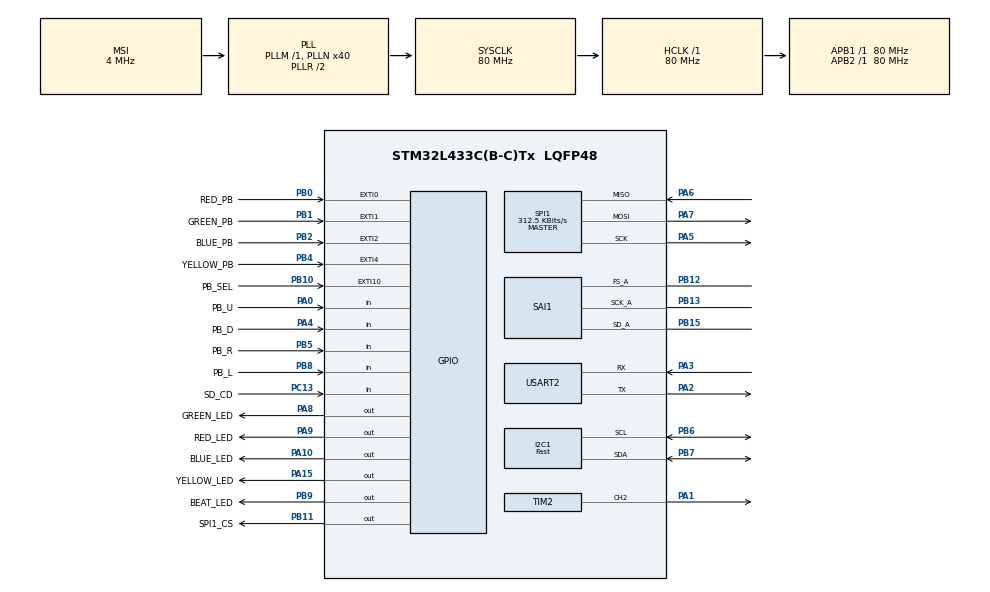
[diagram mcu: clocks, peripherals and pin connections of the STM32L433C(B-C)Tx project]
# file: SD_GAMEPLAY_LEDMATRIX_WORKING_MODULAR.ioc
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Dma.Request0=USART2_RX
Dma.Request1=TIM2_CH2/CH4
Dma.Request2=SAI1_A
Dma.SAI1_A.2.Direction=DMA_MEMORY_TO_PERIPH
Dma.SAI1_A.2.Instance=DMA2_Channel1
Dma.SAI1_A.2.MemDataAlignment=DMA_MDATAALIGN_HALFWORD
Dma.SAI1_A.2.MemInc=DMA_MINC_ENABLE
Dma.SAI1_A.2.Mode=DMA_CIRCULAR
Dma.SAI1_A.2.PeriphDataAlignment=DMA_PDATAALIGN_HALFWORD
Dma.SAI1_A.2.PeriphInc=DMA_PINC_DISABLE
Dma.SAI1_A.2.Priority=DMA_PRIORITY_HIGH
Dma.TIM2_CH2/CH4.1.Direction=DMA_MEMORY_TO_PERIPH
Dma.TIM2_CH2/CH4.1.Instance=DMA1_Channel7
Dma.TIM2_CH2/CH4.1.MemDataAlignment=DMA_MDATAALIGN_HALFWORD
Dma.TIM2_CH2/CH4.1.MemInc=DMA_MINC_ENABLE
Dma.TIM2_CH2/CH4.1.Mode=DMA_CIRCULAR
Dma.TIM2_CH2/CH4.1.PeriphDataAlignment=DMA_PDATAALIGN_WORD
Dma.TIM2_CH2/CH4.1.PeriphInc=DMA_PINC_DISABLE
Dma.TIM2_CH2/CH4.1.Priority=DMA_PRIORITY_LOW
Dma.USART2_RX.0.Direction=DMA_PERIPH_TO_MEMORY
Dma.USART2_RX.0.Instance=DMA1_Channel6
Dma.USART2_RX.0.MemDataAlignment=DMA_MDATAALIGN_BYTE
Dma.USART2_RX.0.MemInc=DMA_MINC_ENABLE
Dma.USART2_RX.0.Mode=DMA_CIRCULAR
Dma.USART2_RX.0.PeriphDataAlignment=DMA_PDATAALIGN_BYTE
Dma.USART2_RX.0.PeriphInc=DMA_PINC_DISABLE
Dma.USART2_RX.0.Priority=DMA_PRIORITY_LOW
I2C1.I2C_Speed_Mode=I2C_Fast
I2C1.Timing=0x00F12981
Mcu.Family=STM32L4
Mcu.Name=STM32L433C(B-C)Tx
Mcu.Package=LQFP48
NVIC.DMA1_Channel6_IRQn=true\:5\:0\:true\:false\:true\:false\:true\:true
NVIC.DMA1_Channel7_IRQn=true\:0\:0\:false\:false\:true\:false\:true\:true
NVIC.DMA2_Channel1_IRQn=true\:0\:0\:false\:false\:true\:false\:true\:true
NVIC.EXTI0_IRQn=true\:0\:0\:false\:false\:true\:true\:true\:true
NVIC.EXTI15_10_IRQn=true\:0\:0\:false\:false\:true\:true\:true\:true
NVIC.EXTI1_IRQn=true\:0\:0\:false\:false\:true\:true\:true\:true
NVIC.EXTI2_IRQn=true\:0\:0\:false\:false\:true\:true\:true\:true
NVIC.EXTI4_IRQn=true\:0\:0\:false\:false\:true\:true\:true\:true
NVIC.PriorityGroup=NVIC_PRIORITYGROUP_4
NVIC.TIM6_DAC_IRQn=true\:5\:0\:true\:false\:true\:true\:true\:true
NVIC.TIM7_IRQn=true\:0\:0\:false\:false\:true\:true\:true\:true
NVIC.USART2_IRQn=true\:0\:0\:false\:false\:true\:true\:true\:true
PA0.GPIO_Label=PB_U
PA0.GPIO_PuPd=GPIO_PULLUP
PA0.Signal=GPIO_Input
PA1.Signal=S_TIM2_CH2
PA10.GPIO_Label=BLUE_LED
PA10.PinState=GPIO_PIN_RESET
PA10.Signal=GPIO_Output
PA15\ (JTDI).GPIO_Label=YELLOW_LED
PA15\ (JTDI).PinState=GPIO_PIN_RESET
PA15\ (JTDI).Signal=GPIO_Output
PA2.Mode=Asynchronous
PA2.Signal=USART2_TX
PA3.Mode=Asynchronous
PA3.Signal=USART2_RX
PA4.GPIO_Label=PB_D
PA4.GPIO_PuPd=GPIO_PULLUP
PA4.Signal=GPIO_Input
PA5.Mode=Full_Duplex_Master
PA5.Signal=SPI1_SCK
PA6.Mode=Full_Duplex_Master
PA6.Signal=SPI1_MISO
PA7.Mode=Full_Duplex_Master
PA7.Signal=SPI1_MOSI
PA8.GPIO_Label=GREEN_LED
PA8.PinState=GPIO_PIN_RESET
PA8.Signal=GPIO_Output
PA9.GPIO_Label=RED_LED
PA9.PinState=GPIO_PIN_RESET
PA9.Signal=GPIO_Output
PB0.GPIO_Label=RED_PB
PB0.GPIO_ModeDefaultEXTI=GPIO_MODE_IT_RISING_FALLING
PB0.GPIO_PuPd=GPIO_PULLUP
PB0.Signal=GPXTI0
PB1.GPIO_Label=GREEN_PB
PB1.GPIO_ModeDefaultEXTI=GPIO_MODE_IT_RISING_FALLING
PB1.GPIO_PuPd=GPIO_PULLUP
PB1.Signal=GPXTI1
PB10.GPIO_Label=PB_SEL
PB10.GPIO_ModeDefaultEXTI=GPIO_MODE_IT_FALLING
PB10.GPIO_PuPd=GPIO_PULLUP
PB10.Signal=GPXTI10
PB11.GPIO_Label=SPI1_CS
PB11.GPIO_ModeDefaultOutputPP=GPIO_MODE_OUTPUT_PP
PB11.PinState=GPIO_PIN_SET
PB11.Signal=GPIO_Output
PB12.Mode=SAI_A_Master
PB12.Signal=SAI1_FS_A
PB13.Mode=SAI_A_Master
PB13.Signal=SAI1_SCK_A
PB14.Signal=SAI1_MCLK_A
PB15.Mode=SAI_A_Master
PB15.Signal=SAI1_SD_A
PB2.GPIO_Label=BLUE_PB
PB2.GPIO_ModeDefaultEXTI=GPIO_MODE_IT_RISING_FALLING
PB2.GPIO_PuPd=GPIO_PULLUP
PB2.Signal=GPXTI2
PB4\ (NJTRST).GPIO_Label=YELLOW_PB
PB4\ (NJTRST).GPIO_ModeDefaultEXTI=GPIO_MODE_IT_RISING_FALLING
PB4\ (NJTRST).GPIO_PuPd=GPIO_PULLUP
PB4\ (NJTRST).Signal=GPXTI4
PB5.GPIO_Label=PB_R
PB5.GPIO_PuPd=GPIO_PULLUP
PB5.Signal=GPIO_Input
PB6.Mode=I2C
PB6.Signal=I2C1_SCL
PB7.Mode=I2C
PB7.Signal=I2C1_SDA
PB8.GPIO_Label=PB_L
PB8.GPIO_PuPd=GPIO_PULLUP
PB8.Signal=GPIO_Input
PB9.GPIO_Label=BEAT_LED
PB9.PinState=GPIO_PIN_SET
PB9.Signal=GPIO_Output
PC13.GPIO_Label=SD_CD
PC13.GPIO_PuPd=GPIO_PULLUP
PC13.Signal=GPIO_Input
PH0-OSC_IN\ (PH0).Mode=HSE-External-Oscillator
PH0-OSC_IN\ (PH0).Signal=RCC_OSC_IN
PH1-OSC_OUT\ (PH1).Mode=HSE-External-Oscillator
PH1-OSC_OUT\ (PH1).Signal=RCC_OSC_OUT
ProjectManager.HeapSize=0x200
ProjectManager.StackSize=0x1000
ProjectManager.TargetToolchain=CMake
RCC.ADCFreq_Value=158000000
RCC.AHBFreq_Value=80000000
RCC.APB1Freq_Value=80000000
RCC.APB1TimFreq_Value=80000000
RCC.APB2Freq_Value=80000000
RCC.APB2TimFreq_Value=80000000
RCC.CortexFreq_Value=80000000
RCC.HCLKFreq_Value=80000000
RCC.HSE_VALUE=8000000
RCC.HSI48_VALUE=48000000
RCC.HSI_VALUE=16000000
RCC.LSE_VALUE=32768
RCC.MSI_VALUE=4000000
RCC.PLLN=40
RCC.PLLSAI1N=79
RCC.SYSCLKFreq_VALUE=80000000
RCC.SYSCLKSource=RCC_SYSCLKSOURCE_PLLCLK
RCC.USBFreq_Value=158000000
RCC.VCOOutputFreq_Value=160000000
SAI1.AudioFrequency-SAI_A_Master=SAI_AUDIO_FREQUENCY_44K
SAI1.ErrorAudioFreq-SAI_A_Master=-0.03 %
SAI1.InitProtocol-SAI_A_Master=Enable
SAI1.Instance-SAI_A_Master=SAI$Index_Block_A
SAI1.MClockEnable-SAI_A_Master=SAI_MASTERCLOCK_DISABLE
SAI1.RealAudioFreq-SAI_A_Master=44.084 KHz
SAI1.VirtualMode-SAI_A_Master=VM_MASTER
SAI1.VirtualProtocol-SAI_A_BASIC=VM_BASIC_PROTOCOL
SH.S_TIM2_CH2.0=TIM2_CH2,PWM Generation2 CH2
SPI1.BaudRatePrescaler=SPI_BAUDRATEPRESCALER_256
SPI1.CalculateBaudRate=312.5 KBits/s
SPI1.DataSize=SPI_DATASIZE_8BIT
SPI1.Direction=SPI_DIRECTION_2LINES
SPI1.Mode=SPI_MODE_MASTER
SPI1.NSSPMode=SPI_NSS_PULSE_DISABLE
SPI1.VirtualType=VM_MASTER
TIM2.Channel-PWM\ Generation2\ CH2=TIM_CHANNEL_2
TIM2.Period=89
TIM2.Prescaler=0
TIM6.Period=5000
TIM6.Prescaler=7999
TIM7.Prescaler=799
USART2.VirtualMode-Asynchronous=VM_ASYNC
VP_FATFS_VS_Generic.Mode=User_defined
VP_SAI1_VP_$IpInstance_SAIA_SAI_BASIC.Mode=SAI_A_BASIC
VP_TIM2_VS_ClockSourceINT.Mode=Internal
VP_TIM6_VS_ClockSourceINT.Mode=Enable_Timer
VP_TIM7_VS_ClockSourceINT.Mode=Enable_Timer
board=custom

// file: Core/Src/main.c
/* USER CODE BEGIN Header */
/**
 ******************************************************************************
 * @file           : main.c
 * @brief          : Main program body (REFACTORED with modular structure)
 ******************************************************************************
 * @author         : Oliver Carnew
 * @date           : 26-Sep-2025 (Refactored: 2025)
 ******************************************************************************
 */
/* USER CODE END Header */
#include "main.h"
#include "fatfs.h"

/* USER CODE BEGIN Includes */
#include "ARGB.h"
#include "SH1106.h"
#include "button_debounce.h"
#include "button_handler.h"
#include "config_input.h"
#include "config_storage.h"
#include "ff.h"
#include "led_control.h"
#include "led_display.h"
#include "libs.h"
#include "scoring.h"
#include "sequence.h"
#include "tsq_parser.h"
#include <stdbool.h>
#include <stdio.h>
#include <string.h>
// New modular includes
#include "beat_event.h"
#include "command_handler.h"
#include "game_state.h"
#include "led_control.h"
#include "sd_card_detect.h"
#include "sd_card_utils.h"
#include "test_sequences.h"
#include "uart_debug.h"
/* USER CODE END Includes */

/* USER CODE BEGIN PD */
#define LED_ON_TIME_MS 100
#define INIT_DELAY_SHORT_MS 50
#define INIT_DELAY_LONG_MS 200
#define INIT_DELAY_VERY_LONG_MS 8000
#define TIM7_OVERFLOW_US 655360
/* USER CODE END PD */

I2C_HandleTypeDef hi2c1;

SAI_HandleTypeDef hsai_BlockA1;
DMA_HandleTypeDef hdma_sai1_a;

SPI_HandleTypeDef hspi1;

TIM_HandleTypeDef htim2;
TIM_HandleTypeDef htim6;
TIM_HandleTypeDef htim7;
DMA_HandleTypeDef hdma_tim2_ch2_ch4;

UART_HandleTypeDef huart2;
DMA_HandleTypeDef hdma_usart2_rx;

/* USER CODE BEGIN PV */
// Global variables shared across modules
volatile bool beat_event_flag = false;
volatile uint32_t last_beat_timestamp = 0;
volatile uint32_t beat_count = 0;
volatile uint16_t current_bpm = 30;
uint32_t sequence_length = 0;
volatile uint32_t tim7_overflow_count = 0;

// DMA UART Buffers
uint8_t uart_rx_buffer[UART_RX_BUFFER_SIZE];
uint8_t uart_tx_buffer[UART_TX_BUFFER_SIZE];
volatile uint32_t uart_rx_head = 0;
uint32_t uart_rx_tail = 0;
volatile uint8_t uart_tx_busy = 0;

// LED control
LEDControl led_control = {0};
uint32_t beat_led_on_tick = 0;
uint32_t beat_led_off_tick = 0;

// Legacy note event variables (kept for compatibility)
NoteEvent notes[MAX_NOTES];
int notes_head = 0, notes_tail = 0;
int32_t total_score = 0;
uint32_t odd_count = 0;
int selected_song = 0;
bool scrolled = false;
bool rightPressed = false;
bool selectedNewSong = false;

static bool config_menu_enabled = true; // Set to true to show config option
/* USER CODE END PV */

void SystemClock_Config(void);
static void MX_GPIO_Init(void);
static void MX_DMA_Init(void);
static void MX_USART2_UART_Init(void);
static void MX_TIM2_Init(void);
static void MX_TIM6_Init(void);
static void MX_SAI1_Init(void);
static void MX_TIM7_Init(void);
static void MX_I2C1_Init(void);
static void MX_SPI1_Init(void);
/* USER CODE BEGIN PFP */
void Update_BPM_Timer(uint16_t bpm);
uint32_t GetMicrosecondTimestamp(void);
/* USER CODE END PFP */

/* USER CODE BEGIN 0 */

/**
 * @brief Prepend config option to song list
 * This modifies tsqFiles to include a "CHANGE CONFIG->" entry at index 0
 */
void PrependConfigOption(char ****tsqFiles_ptr, int *tsqCount_ptr) {
  if (!config_menu_enabled)
    return;

  char ***tsqFiles = *tsqFiles_ptr;
  int tsqCount = *tsqCount_ptr;

  // Allocate new arrays with space for one extra entry
  char ***newTsqFiles = malloc(sizeof(char **) * 3);
  newTsqFiles[0] = malloc(sizeof(char *) * (tsqCount + 1)); // Names
  newTsqFiles[1] = malloc(sizeof(char *) * (tsqCount + 1)); // Artists
  newTsqFiles[2] = malloc(sizeof(char *) * (tsqCount + 1)); // Filenames

  // Add config option at index 0
  newTsqFiles[0][0] = malloc(strlen("CHANGE CONFIG->") + 1);
  strcpy(newTsqFiles[0][0], "CHANGE CONFIG->");

  newTsqFiles[1][0] = malloc(strlen("") + 1);
  strcpy(newTsqFiles[1][0], "");

  newTsqFiles[2][0] = malloc(strlen("__CONFIG__") + 1);
  strcpy(newTsqFiles[2][0], "__CONFIG__");

  // Copy existing songs starting at index 1
  for (int i = 0; i < tsqCount; i++) {
    newTsqFiles[0][i + 1] = malloc(strlen(tsqFiles[0][i]) + 1);
    strcpy(newTsqFiles[0][i + 1], tsqFiles[0][i]);

    newTsqFiles[1][i + 1] = malloc(strlen(tsqFiles[1][i]) + 1);
    strcpy(newTsqFiles[1][i + 1], tsqFiles[1][i]);

    newTsqFiles[2][i + 1] = malloc(strlen(tsqFiles[2][i]) + 1);
    strcpy(newTsqFiles[2][i + 1], tsqFiles[2][i]);
  }

  // Free old arrays (if needed - be careful with this based on your memory
  // management) In your case, you might want to keep the old arrays since
  // they're from SD card

  // Update pointers
  *tsqFiles_ptr = newTsqFiles;
  *tsqCount_ptr = tsqCount + 1;
}

/**
 * @brief Get microsecond timestamp using TIM7 with overflow handling
 */
uint32_t GetMicrosecondTimestamp(void) {
  uint32_t overflow_snapshot;
  uint16_t counter_snapshot;

  do {
    overflow_snapshot = tim7_overflow_count;
    counter_snapshot = TIM7->CNT;
    __DSB();
  } while (overflow_snapshot != tim7_overflow_count);

  return (overflow_snapshot * TIM7_OVERFLOW_US) + (counter_snapshot * 10);
}

/**
 * @brief  Calculates and updates the TIM6 period to match a given BPM.
 * @param  bpm: The desired beats per minute.
 * @retval None
 */
void Update_BPM_Timer(uint16_t bpm) {
  if (bpm > 0) {
    uint32_t timer_period = 600000 / bpm;
    __HAL_TIM_SET_AUTORELOAD(&htim6, timer_period - 1);
  }
}

/**
 * @brief  TIM6 Period Elapsed Callback (Metronome ISR).
 * @param  htim: TIM handle.
 * @retval None
 */
void HAL_TIM_PeriodElapsedCallback(TIM_HandleTypeDef *htim) {
  if (htim->Instance == TIM6) {
    last_beat_timestamp = GetMicrosecondTimestamp();
    beat_count++;
    beat_event_flag = true;
  } else if (htim->Instance == TIM7) {
    tim7_overflow_count++;
  }
}

/**
 * @brief UART TX Complete Callback
 */
void HAL_UART_TxCpltCallback(UART_HandleTypeDef *huart) {
  if (huart->Instance == USART2) {
    uart_tx_busy = 0;
  }
}

/**
 * @brief UART Error Callback
 */
void HAL_UART_ErrorCallback(UART_HandleTypeDef *huart) {
  if (huart->Instance == USART2) {
    HAL_UART_Receive_DMA(&huart2, uart_rx_buffer, UART_RX_BUFFER_SIZE);
    uart_tx_busy = 0;
  }
}
bool fillWavBuffer = false;
void HAL_SAI_TxCpltCallback(SAI_HandleTypeDef *hsai) {
  // myprintf("TXCallBack");
  fillWavBuffer = true;
}

/* USER CODE END 0 */

int main(void) {

  /* USER CODE BEGIN 1 */
  char uart_buf[256];
  int uart_buf_len;
  uint8_t selected_sequence = 0;

  FATFS FatFs;
  FIL fil;
  FRESULT fres;
  FileList fileList;
  TSQMetadata tsq_metadata;
  /* USER CODE END 1 */

  /* MCU Configuration--------------------------------------------------------*/

  /* Reset of all peripherals, Initializes the Flash interface and the Systick.
   */
  HAL_Init();

  /* Configure the system clock */
  SystemClock_Config();

  /* USER CODE BEGIN SysInit */
  HAL_Delay(INIT_DELAY_LONG_MS);
  /* USER CODE END SysInit */

  /* Initialize all configured peripherals */
  MX_GPIO_Init();
  MX_DMA_Init();
  MX_USART2_UART_Init();
  MX_TIM2_Init();
  MX_TIM6_Init();
  MX_SAI1_Init();
  MX_TIM7_Init();
  MX_FATFS_Init();
  MX_I2C1_Init();
  MX_SPI1_Init();
  /* USER CODE BEGIN 2 */

  // ONE-TIME HARDWARE & MODULE INITIALIZATION
  uint8_t sh1106InitRet = SH1106_Init();
  myprintf("sh1106InitRet = %d\r\n", sh1106InitRet);
  UART_StartDMAReception();
  uart_buf_len = sprintf(uart_buf, "\r\n\r\n=== tpmania v1.0 ===\r\n");
  UART_Transmit((uint8_t *)uart_buf, uart_buf_len);
  HAL_Delay(100);
  uart_buf_len = sprintf(uart_buf, "\r\n=== DMA UART INITIALIZED ===\r\n");
  UART_Transmit((uint8_t *)uart_buf, uart_buf_len);

  volatile uint32_t *stack_pointer = (uint32_t *)__get_MSP();
  safe_uart_puts("DEBUG: 5. Stack pointer: ");
  safe_uart_putnum((uint32_t)stack_pointer);
  safe_uart_puts("\r\n");
  HAL_Delay(INIT_DELAY_SHORT_MS);
  Safe_Stack_Fill();
  safe_uart_puts("DEBUG: 6. Stack pattern complete\r\n");
  HAL_Delay(INIT_DELAY_SHORT_MS);
  __HAL_TIM_CLEAR_FLAG(&htim6, TIM_FLAG_UPDATE);
  __HAL_TIM_CLEAR_FLAG(&htim2, TIM_FLAG_UPDATE);
  safe_uart_puts("DEBUG: 7. Timer flags cleared\r\n");
  HAL_Delay(INIT_DELAY_SHORT_MS);
  safe_uart_puts("DEBUG: 8. System ready message\r\n");
  safe_uart_puts("\r\n=== SYSTEM READY ===\r\n");
  safe_uart_puts("BPM: ");
  safe_uart_put_ulu(current_bpm);
  safe_uart_puts("\r\n");
  HAL_Delay(INIT_DELAY_SHORT_MS);

  // Initialize custom modules
  Scoring_Init();
  Config_Init();
  ButtonHandler_Init();
  Sequence_Init();
  InitLEDControl();
  HAL_GPIO_WritePin(BEAT_LED_GPIO_Port, BEAT_LED_Pin, GPIO_PIN_SET);

  myprintf("\r\n=== Initialising ARGB ===");
  ARGB_Init();

  ARGB_SetBrightness(ARGB_BRIGHTNESS);
  myprintf("\r\n=== ARGB INITIALISED w/ Brightness = %d ===", ARGB_BRIGHTNESS);
  myprintf("\r\nARR=%lu PSC=%lu DMA_state=%d hdma_cc2=%p",
           (unsigned long)TIM2->ARR, (unsigned long)TIM2->PSC,
           (int)HAL_DMA_GetState(&hdma_tim2_ch2_ch4),
           (void *)htim2.hdma[TIM_DMA_ID_CC2]);
  ARGB_SetBrightness(1);

  myprintf("\r\n=== Initialising SD CARD ===");
  myprintf("\r\nretUSER = %d", retUSER);
  HAL_Delay(1000);

  myprintf("\r\n>>>> Sending 80 clocks ===");
  sd_send_80_clocks();
  extern DSTATUS USER_SPI_initialize(BYTE);
  DSTATUS s = USER_SPI_initialize(0);
  myprintf("\r\nUSER_SPI_initialize -> 0x%02X\r\n", s);

  ChangeSystemState(SYSTEM_STATE_INIT);

  // ETHAN PV
  int horizontalOffset = 0;
  int tsqCount = 0;
  char ***tsqFiles;
  // NOTE: the sd card isn't getting mounted before this function gets called.
  uint32_t lastScrollTime = 0;

// Start of Audio Definitions.
#define WAV_BUF_SIZE 512
  uint16_t wavBuf[WAV_BUF_SIZE * 2];

  // Because we access the relevant .wav file in multiple places. I got lazy and
  // made it a global.
  FIL wavFil;
  UINT bytesRead;
  FRESULT res;
  uint16_t spacing = 2;
  uint16_t h = Font_7x10.FontHeight;

  void playWav(char *filePath) {
    res = f_open(&wavFil, filePath, FA_READ);
    if (res != FR_OK) {
      return;
      myprintf("Failed to read file %s\n", filePath);
    }

    f_lseek(&wavFil, 44); // Skip WAV header
    f_read(&wavFil, &wavBuf, WAV_BUF_SIZE * 2, &bytesRead);
    // Start DMA for the full buffer (1024 bytes)
    myprintf("Beginning transmission of data for file\n");
    // No matter what I do here, this complains about the cast.
    HAL_SAI_Transmit_DMA(&hsai_BlockA1, (uint16_t *)wavBuf, WAV_BUF_SIZE);
  }

  /* USER CODE END 2 */

  /* Infinite loop */
  /* USER CODE BEGIN WHILE */
  while (1) {
    switch (GetCurrentSystemState()) {
    case SYSTEM_STATE_INIT: {
      static uint8_t mount_attempts = 0;
      myprintf("\r\n=== SD CARD CHECK ===\r\n");

      // Try to mount
      fres = f_mount(&FatFs, "", 1);

      if (fres == FR_DISK_ERR || fres == FR_NOT_READY) {
        // No card detected
        mount_attempts++;

        if (mount_attempts == 1) {
          // First attempt failed - show error
          myprintf("\r\n");
          myprintf("╔════════════════════════════════════════════════╗\r\n");
          myprintf("║          NO SD CARD DETECTED                   ║\r\n");
          myprintf("║                                                ║\r\n");
          myprintf("║  Please insert a microSD card                  ║\r\n");
          myprintf("║  Device will retry every 2 seconds...          ║\r\n");
          myprintf("╚════════════════════════════════════════════════╝\r\n");
          myprintf("\r\n");
          char SD_mount_err_buff1[18];
          char SD_mount_err_buff2[18];
          char SD_mount_err_buff3[18];
          char SD_mount_err_buff4[18];

          SH1106_Fill(SH1106_COLOR_BLACK);
          snprintf(SD_mount_err_buff1, sizeof SD_mount_err_buff1,
                   "NO SD CARD FOUND:");
          SH1106_GotoXY(1, 1 * (h + spacing));
          SH1106_Puts(SD_mount_err_buff1, &Font_7x10, 1);
          snprintf(SD_mount_err_buff2, sizeof SD_mount_err_buff2,
                   "TURN OFF DEVICE");
          SH1106_GotoXY(1, 2 * (h + spacing));
          SH1106_Puts(SD_mount_err_buff2, &Font_7x10, 1);
          snprintf(SD_mount_err_buff3, sizeof SD_mount_err_buff3,
                   "AND REINSERT SD");
          SH1106_GotoXY(1, 3 * (h + spacing));
          SH1106_Puts(SD_mount_err_buff3, &Font_7x10, 1);
          snprintf(SD_mount_err_buff4, sizeof SD_mount_err_buff4,
                   "TO CONTINUE");
          SH1106_GotoXY(1, 4 * (h + spacing));
          SH1106_Puts(SD_mount_err_buff4, &Font_7x10, 1);
          SH1106_UpdateScreen();

        } else {
          // Still waiting
          myprintf("Retry %d: Still no card detected...\r\n", mount_attempts);
        }

        // Blink LED while waiting
        HAL_GPIO_TogglePin(RED_LED_GPIO_Port, RED_LED_Pin);

        // Wait 2 seconds and retry
        HAL_Delay(2000);
        break; // Stay in INIT state
      }

      if (fres == FR_NO_FILESYSTEM) {
        myprintf("Card detected but not formatted as FAT32.\r\n");
        char SD_mount_err_buff1[18];
        char SD_mount_err_buff2[18];
        char SD_mount_err_buff3[18];
        char SD_mount_err_buff4[18];
        SH1106_Fill(SH1106_COLOR_BLACK);
        snprintf(SD_mount_err_buff1, sizeof SD_mount_err_buff1,
                 "SD CARD DETECTED:");
        SH1106_GotoXY(1, 1 * (h + spacing));
        SH1106_Puts(SD_mount_err_buff1, &Font_7x10, 1);
        snprintf(SD_mount_err_buff2, sizeof SD_mount_err_buff2,
                 "SD NOT FORMATTED");
        SH1106_GotoXY(1, 2 * (h + spacing));
        SH1106_Puts(SD_mount_err_buff3, &Font_7x10, 1);
        snprintf(SD_mount_err_buff3, sizeof SD_mount_err_buff3,
                 "AS FAT32, PLEASE");
        SH1106_GotoXY(1, 3 * (h + spacing));
        SH1106_Puts(SD_mount_err_buff3, &Font_7x10, 1);
        snprintf(SD_mount_err_buff4, sizeof SD_mount_err_buff4,
                 "REINSERT/REFORMAT");
        SH1106_GotoXY(1, 4 * (h + spacing));
        SH1106_Puts(SD_mount_err_buff4, &Font_7x10, 1);
        SH1106_UpdateScreen();
        Error_Handler();
      }

      if (fres != FR_OK) {
        myprintf("Mount error: %d\r\n", fres); // display
        char SD_mount_err_buff1[18];
        char SD_mount_err_buff2[18];
        char SD_mount_err_buff3[18];
        char SD_mount_err_buff4[18];
        SH1106_Fill(SH1106_COLOR_BLACK);
        snprintf(SD_mount_err_buff1, sizeof SD_mount_err_buff1,
                 "SD CARD MOUNT ERR");
        SH1106_GotoXY(1, 1 * (h + spacing));
        SH1106_Puts(SD_mount_err_buff1, &Font_7x10, 1);
        snprintf(SD_mount_err_buff2, sizeof SD_mount_err_buff2,
                 "SD MOUNT FAILED");
        SH1106_GotoXY(1, 2 * (h + spacing));
        SH1106_Puts(SD_mount_err_buff3, &Font_7x10, 1);
        snprintf(SD_mount_err_buff3, sizeof SD_mount_err_buff3,
                 "TRY TURNING OFF");
        SH1106_GotoXY(1, 3 * (h + spacing));
        SH1106_Puts(SD_mount_err_buff3, &Font_7x10, 1);
        snprintf(SD_mount_err_buff4, sizeof SD_mount_err_buff4,
                 "AND REINSERTING");
        SH1106_GotoXY(1, 4 * (h + spacing));
        SH1106_Puts(SD_mount_err_buff4, &Font_7x10, 1);
        SH1106_UpdateScreen();
        Error_Handler();
        //   Error_Handler();
      }

      // Success!
      myprintf("✓ SD card detected and mounted (attempt %d)\r\n",
               mount_attempts + 1); // display
      mount_attempts = 0;           // Reset for next time
      tsqFiles = sd_list_tsq_files(&tsqCount);
      myprintf(
          "###------------------   There are %d files on the SD CARD \n\r ",
          tsqCount);

      // Add config option to the menu
      PrependConfigOption(&tsqFiles, &tsqCount);
      myprintf("Menu initialized with %d total options (including config)\n\r",
               tsqCount);

      //			// Turn on green LED to indicate success
      //			HAL_GPIO_WritePin(RED_LED_GPIO_Port,
      //RED_LED_Pin, GPIO_PIN_RESET); 			HAL_GPIO_WritePin(GREEN_LED_GPIO_Port,
      //GREEN_LED_Pin, GPIO_PIN_SET);

      ChangeSystemState(SYSTEM_STATE_SEQUENCE_SELECT);
      break;
    }

    case SYSTEM_STATE_WAITING_CONFIG_INPUT: {
      // --- OLED Message Buffers (18 chars max per line) ---
      char oled_buf1[19];
      char oled_buf2[19];
      char oled_buf3[19];
      char oled_buf4[19];
      char oled_buf5[19];

      uint16_t spacing = 2;
      uint16_t h = Font_7x10.FontHeight; // 10

      // Get current windows
      const ScoringWindows *w = Scoring_GetWindows();

      // --- Display current config on OLED ---
      SH1106_Fill(SH1106_COLOR_BLACK);

      snprintf(oled_buf1, sizeof(oled_buf1), "Current Windows:");
      SH1106_GotoXY(1, 0 * (h + spacing) + TEXT_OFFSET_Y + LINE_TEXT_Y_OFFSET);
      SH1106_Puts(oled_buf1, &Font_7x10, 1);

      // Show P and G on one line
      snprintf(oled_buf2, sizeof(oled_buf2), "P:%u G:%u", w->perfect_radius_ms,
               w->good_radius_ms);
      SH1106_GotoXY(1, 1 * (h + spacing) + TEXT_OFFSET_Y + LINE_TEXT_Y_OFFSET);
      SH1106_Puts(oled_buf2, &Font_7x10, 1);

      // Show O and Po on next line
      snprintf(oled_buf3, sizeof(oled_buf3), "O:%u Po:%u", w->ok_radius_ms,
               w->poor_radius_ms);
      SH1106_GotoXY(1, 2 * (h + spacing) + TEXT_OFFSET_Y + LINE_TEXT_Y_OFFSET);
      SH1106_Puts(oled_buf3, &Font_7x10, 1);

      snprintf(oled_buf4, sizeof(oled_buf4), "Send SETWIN via");
      SH1106_GotoXY(1, 3 * (h + spacing) + TEXT_OFFSET_Y + LINE_TEXT_Y_OFFSET);
      SH1106_Puts(oled_buf4, &Font_7x10, 1);

      snprintf(oled_buf5, sizeof(oled_buf5), "UART or press X");
      SH1106_GotoXY(1, 4 * (h + spacing) + TEXT_OFFSET_Y + LINE_TEXT_Y_OFFSET);
      SH1106_Puts(oled_buf5, &Font_7x10, 1);

      SH1106_UpdateScreen();

      // --- Wait for UART input and get result ---
      myprintf("\r\nCurrent: P=±%u G=±%u O=±%u Po=±%u ms\r\n",
               w->perfect_radius_ms, w->good_radius_ms, w->ok_radius_ms,
               w->poor_radius_ms);
      myprintf(
          "Enter new config (SETWIN:P,G,O,Po) or press Enter to skip:\r\n> ");

      bool config_changed = Config_WaitForInput(); // Capture return value

      // --- Check if config was saved to flash ---
      bool saved_to_flash =
          config_changed; // Config_WaitForInput saves internally

      // Log to UART
      const ScoringWindows *w_after = Scoring_GetWindows();
      uart_buf_len =
          sprintf(uart_buf, "Current Windows: P=±%u G=±%u O=±%u Po=±%u\r\n",
                  w_after->perfect_radius_ms, w_after->good_radius_ms,
                  w_after->ok_radius_ms, w_after->poor_radius_ms);
      HAL_UART_Transmit(&huart2, (uint8_t *)uart_buf, uart_buf_len, 1000);

      // --- Display result on OLED ---
      SH1106_Fill(SH1106_COLOR_BLACK);
      memset(oled_buf1, 0, sizeof(oled_buf1));
      memset(oled_buf2, 0, sizeof(oled_buf2));
      memset(oled_buf3, 0, sizeof(oled_buf3));
      memset(oled_buf4, 0, sizeof(oled_buf4));
      memset(oled_buf5, 0, sizeof(oled_buf5));

      if (config_changed) {
        snprintf(oled_buf1, sizeof(oled_buf1), "Config Updated!");
        SH1106_GotoXY(1,
                      0 * (h + spacing) + TEXT_OFFSET_Y + LINE_TEXT_Y_OFFSET);
        SH1106_Puts(oled_buf1, &Font_7x10, 1);

        if (saved_to_flash) {
          snprintf(oled_buf2, sizeof(oled_buf2), "Saved to Flash.");
          SH1106_GotoXY(1,
                        1 * (h + spacing) + TEXT_OFFSET_Y + LINE_TEXT_Y_OFFSET);
          SH1106_Puts(oled_buf2, &Font_7x10, 1);
        } else {
          snprintf(oled_buf2, sizeof(oled_buf2), "Save FAILED.");
          SH1106_GotoXY(1,
                        1 * (h + spacing) + TEXT_OFFSET_Y + LINE_TEXT_Y_OFFSET);
          SH1106_Puts(oled_buf2, &Font_7x10, 1);

          snprintf(oled_buf3, sizeof(oled_buf3), "Using for now.");
          SH1106_GotoXY(1,
                        2 * (h + spacing) + TEXT_OFFSET_Y + LINE_TEXT_Y_OFFSET);
          SH1106_Puts(oled_buf3, &Font_7x10, 1);
        }

        // Display new values - split across two lines
        snprintf(oled_buf4, sizeof(oled_buf4), "P:%u G:%u",
                 w_after->perfect_radius_ms, w_after->good_radius_ms);
        SH1106_GotoXY(1,
                      3 * (h + spacing) + TEXT_OFFSET_Y + LINE_TEXT_Y_OFFSET);
        SH1106_Puts(oled_buf4, &Font_7x10, 1);

        snprintf(oled_buf5, sizeof(oled_buf5), "O:%u Po:%u",
                 w_after->ok_radius_ms, w_after->poor_radius_ms);
        SH1106_GotoXY(1,
                      4 * (h + spacing) + TEXT_OFFSET_Y + LINE_TEXT_Y_OFFSET);
        SH1106_Puts(oled_buf5, &Font_7x10, 1);

      } else {
        snprintf(oled_buf1, sizeof(oled_buf1), "No Changes Made");
        SH1106_GotoXY(1,
                      0 * (h + spacing) + TEXT_OFFSET_Y + LINE_TEXT_Y_OFFSET);
        SH1106_Puts(oled_buf1, &Font_7x10, 1);

        snprintf(oled_buf2, sizeof(oled_buf2), "Using current");
        SH1106_GotoXY(1,
                      1 * (h + spacing) + TEXT_OFFSET_Y + LINE_TEXT_Y_OFFSET);
        SH1106_Puts(oled_buf2, &Font_7x10, 1);

        snprintf(oled_buf3, sizeof(oled_buf3), "settings:");
        SH1106_GotoXY(1,
                      2 * (h + spacing) + TEXT_OFFSET_Y + LINE_TEXT_Y_OFFSET);
        SH1106_Puts(oled_buf3, &Font_7x10, 1);

        // Show current values
        snprintf(oled_buf4, sizeof(oled_buf4), "P:%u G:%u",
                 w_after->perfect_radius_ms, w_after->good_radius_ms);
        SH1106_GotoXY(1,
                      3 * (h + spacing) + TEXT_OFFSET_Y + LINE_TEXT_Y_OFFSET);
        SH1106_Puts(oled_buf4, &Font_7x10, 1);

        snprintf(oled_buf5, sizeof(oled_buf5), "O:%u Po:%u",
                 w_after->ok_radius_ms, w_after->poor_radius_ms);
        SH1106_GotoXY(1,
                      4 * (h + spacing) + TEXT_OFFSET_Y + LINE_TEXT_Y_OFFSET);
        SH1106_Puts(oled_buf5, &Font_7x10, 1);
      }

      SH1106_UpdateScreen();

      // --- Wait and return ---
      HAL_Delay(3000);
      ChangeSystemState(SYSTEM_STATE_SEQUENCE_SELECT);

      break;
    }

    case SYSTEM_STATE_SEQUENCE_SELECT: {
      // Poll buttons for navigation
      poll_buttons();
      selected_song = get_choose_song();
      scrolled = get_scrolled();
      rightPressed = get_press_right();
      selectedNewSong = get_selected_song();

      // Ensure selected_song stays within bounds
      if (selected_song < 0)
        selected_song = 0;
      if (selected_song >= tsqCount)
        selected_song = tsqCount - 1;

      char uart_check_buf[16];
      uint32_t bytes_available =
          UART_ReadBytes((uint8_t *)uart_check_buf, sizeof(uart_check_buf) - 1);
      if (bytes_available > 0) {
        uart_check_buf[bytes_available] = '\0';

        // Check if GETWIN command was received
        if (strstr(uart_check_buf, "GETWIN") != NULL) {
          myprintf("GETWIN command received - sending config\r\n");
          ChangeSystemState(SYSTEM_STATE_SEND_CONFIG);
          break;
        }
      }

      // Check if SELECT button was pressed (pbSelPressed)
      if (pbSelPressed) {
        // Check if config option was selected (index 0)
        if (config_menu_enabled && selected_song == 0) {
          myprintf("Config option selected - entering config mode\n\r");
          pbSelPressed = false; // Clear the flag
          ChangeSystemState(SYSTEM_STATE_WAITING_CONFIG_INPUT);
          break;
        }

        // Otherwise, try to open the selected song file
        // Adjust index by -1 since config option is at index 0
        int file_index =
            config_menu_enabled ? (selected_song - 1) : selected_song;

        if (file_index >= 0 &&
            file_index < (tsqCount - (config_menu_enabled ? 1 : 0))) {
          fres = f_open(&fil, tsqFiles[2][selected_song], FA_READ);

          if (fres == FR_OK) {
            TSQParseResult parse_result =
                TSQ_LoadAndConfigure(&fil, &tsq_metadata);
            ChangeSystemState(SYSTEM_STATE_READY);
            pbSelPressed = false; // Clear the flag
            break;
          } else {
            uart_buf_len = sprintf(
                uart_buf, "ERROR: Failed to open file (error %d)\r\n", fres);
            HAL_UART_Transmit(&huart2, (uint8_t *)uart_buf, uart_buf_len, 1000);
            pbSelPressed = false; // Clear the flag
          }
        }
      }

      // Check if RIGHT button was pressed (alternative selection method)
      if (rightPressed) {
        // Check if config option was selected (index 0)
        if (config_menu_enabled && selected_song == 0) {
          myprintf(
              "Config option selected via RIGHT - entering config mode\n\r");
          rightPressed = false; // Clear the flag
          ChangeSystemState(SYSTEM_STATE_WAITING_CONFIG_INPUT);
          break;
        }

        // Otherwise, try to open the selected song file
        fres = f_open(&fil, tsqFiles[2][selected_song], FA_READ);

        if (fres == FR_OK) {
          TSQParseResult parse_result =
              TSQ_LoadAndConfigure(&fil, &tsq_metadata);
          ChangeSystemState(SYSTEM_STATE_READY);
          rightPressed = false; // Clear the flag
          break;
        }
      }

      // Update the screen if someone pressed up/down or initially
      if (scrolled || !rightPressed) {
        scrolled = false;
        horizontalOffset = 0;
        write_to_oled(tsqFiles, tsqCount, selected_song, &horizontalOffset);
        SH1106_UpdateScreen();
      }

      break;
    }

    case SYSTEM_STATE_READY: {
      HAL_Delay(100);
      uart_buf_len = sprintf(
          uart_buf, "\r\n=== INITIALIZATION COMPLETE ===\r\nBPM: %u\r\n",
          (unsigned int)current_bpm);
      UART_Transmit((uint8_t *)uart_buf, uart_buf_len);

      const ScoringWindows *windows = Scoring_GetWindows();

      uart_buf_len =
          sprintf(uart_buf,
                  "\r\n=== GAME READY ===\r\n"
                  "Scoring Windows:\r\n"
                  "  Perfect: ±%u ms\r\n"
                  "  Good:    ±%u ms\r\n"
                  "  OK:      ±%u ms\r\n"
                  "  Poor:    ±%u ms\r\n"
                  "BPM: %u\r\n"
                  "Sequence: %d\r\n"
                  "\r\n"
                  "Starting in 3 seconds...\r\n",
                  windows->perfect_radius_ms, windows->good_radius_ms,
                  windows->ok_radius_ms, windows->poor_radius_ms, current_bpm,
                  selected_sequence);
      UART_Transmit((uint8_t *)uart_buf, uart_buf_len);

      HAL_Delay(3000);

      // Reset and prepare all game modules
      Scoring_Reset();
      ButtonHandler_Init();
      Sequence_Reset();
      Sequence_SetHalfBeatMode(
          tsq_metadata.is_half_beat); // necessary for halfbeat skipping
      InitLEDControl();

      char *songName = tsqFiles[2][selected_song];
      songName[strlen(songName) - 4] = '\0';
      strcat(songName, ".WAV");
      myprintf("Playing %s\n,", songName);
      playWav(songName); // This needs to be dynamicly chosen

      safe_uart_puts("DEBUG: 11a. Initializing LED matrix display\r\n");
      LEDDisplay_Init();
      safe_uart_puts("DEBUG: 11b. Loading initial beat window\r\n");
      LEDDisplay_LoadInitialWindow();
      safe_uart_puts("DEBUG: 11c. LED matrix ready\r\n");

      beat_count = 0;
      PrimeFirstBeatLEDs(sequence_length);

      // Start all game timers
      safe_uart_puts("DEBUG: 11. Starting TIM7 counter\r\n");
      if (HAL_TIM_Base_Start_IT(&htim7) != HAL_OK) {
        safe_uart_puts("ERROR: TIM7 start failed\r\n");
      } else {
        safe_uart_puts("TIM7 started successfully\r\n");
      }

      safe_uart_puts("DEBUG: 10. Starting TIM6 interrupt\r\n");
      if (HAL_TIM_Base_Start_IT(&htim6) != HAL_OK) {
        safe_uart_puts("ERROR: TIM6 start failed\r\n");
      } else {
        safe_uart_puts("TIM6 started successfully\r\n");
      }

      safe_uart_puts("DEBUG: 11. Starting TIM2 counter\r\n");
      if (HAL_TIM_Base_Start(&htim2) != HAL_OK) {
        safe_uart_puts("ERROR: TIM2 start failed\r\n");
      } else {
        safe_uart_puts("TIM2 started successfully\r\n");
      }

      safe_uart_puts("DEBUG: 12. Entering main loop\r\n");
      ChangeSystemState(SYSTEM_STATE_PLAYING);
      break;
    }

    case SYSTEM_STATE_PLAYING: {
      pbSelPressed = false;
      // Process Beat Events
      ProcessBeatEvent(tsq_metadata);

      // Process Scheduled LED Events
      ProcessLEDSchedule();

      if (beat_count % 2 != 0) {
        odd_count += 1;
      }

      if (fillWavBuffer == true) {
        f_read(&wavFil, &wavBuf, WAV_BUF_SIZE * 2, &bytesRead);
        fillWavBuffer = false;
      }

      // myprintf("odd_count = %d\r\n", odd_count);
      // if (beat_count == 1) {
      //    ProcessBeatLED();
      // } else if (tsq_metadata.is_half_beat && odd_count == 2) {
      //    ProcessBeatLED();
      //    odd_count = 0;
      // } else if (!tsq_metadata.is_half_beat) {
      //    ProcessBeatLED();
      // }
      // if (tsq_metadata.is_half_beat && odd_count == )
      // Process beat LED on/off
      if (tsq_metadata.is_half_beat && beat_count % 2 != 0) {
        ProcessBeatLED();
      } else if (!tsq_metadata.is_half_beat) {
        ProcessBeatLED();
      }
      // ProcessBeatLED();

      // Process Button Press Events from Queue
      ButtonHandler_ProcessQueue();

      // Check for UART Commands
      ProcessGameCommands();

      HAL_Delay(1);
      break;
    }

    case SYSTEM_STATE_COMPLETE: {
      myprintf("Game Over. Press 'R' to retry song, or 'M' to return to main "
               "menu.\r\n");
      HAL_SAI_DMAStop(&hsai_BlockA1);
      if (pbSelPressed) {
        pbSelPressed = false;
        ChangeSystemState(SYSTEM_STATE_INIT);
      }

      // uint8_t rx_byte;
      // while (UART_ReadBytes(&rx_byte, 1) == 0) {
      //     HAL_Delay(50);
      // }

      // if (rx_byte == 'r' || rx_byte == 'R') {
      //     myprintf("Restarting song...\r\n");
      //     ChangeSystemState(SYSTEM_STATE_READY);
      // } else if (rx_byte == 'm' || rx_byte == 'M') {
      //     myprintf("Returning to menu...\r\n");
      //     ChangeSystemState(SYSTEM_STATE_SEQUENCE_SELECT);
      // }
      break;
    }

    default: {
      myprintf("FATAL: Unknown system state! Resetting...\r\n");
      ChangeSystemState(SYSTEM_STATE_INIT);
      break;
    }

    } // end switch
    /* USER CODE END WHILE */

    /* USER CODE BEGIN 3 */
  } // end while(1)
  /* USER CODE END 3 */
}

void SystemClock_Config(void) {
  RCC_OscInitTypeDef RCC_OscInitStruct = {0};
  RCC_ClkInitTypeDef RCC_ClkInitStruct = {0};

  /** Configure the main internal regulator output voltage
   */
  if (HAL_PWREx_ControlVoltageScaling(PWR_REGULATOR_VOLTAGE_SCALE1) != HAL_OK) {
    Error_Handler();
  }

  /** Initializes the RCC Oscillators according to the specified parameters
   * in the RCC_OscInitTypeDef structure.
   */
  RCC_OscInitStruct.OscillatorType = RCC_OSCILLATORTYPE_MSI;
  RCC_OscInitStruct.MSIState = RCC_MSI_ON;
  RCC_OscInitStruct.MSICalibrationValue = 0;
  RCC_OscInitStruct.MSIClockRange = RCC_MSIRANGE_6;
  RCC_OscInitStruct.PLL.PLLState = RCC_PLL_ON;
  RCC_OscInitStruct.PLL.PLLSource = RCC_PLLSOURCE_MSI;
  RCC_OscInitStruct.PLL.PLLM = 1;
  RCC_OscInitStruct.PLL.PLLN = 40;
  RCC_OscInitStruct.PLL.PLLP = RCC_PLLP_DIV7;
  RCC_OscInitStruct.PLL.PLLQ = RCC_PLLQ_DIV2;
  RCC_OscInitStruct.PLL.PLLR = RCC_PLLR_DIV2;
  if (HAL_RCC_OscConfig(&RCC_OscInitStruct) != HAL_OK) {
    Error_Handler();
  }

  /** Initializes the CPU, AHB and APB buses clocks
   */
  RCC_ClkInitStruct.ClockType = RCC_CLOCKTYPE_HCLK | RCC_CLOCKTYPE_SYSCLK |
                                RCC_CLOCKTYPE_PCLK1 | RCC_CLOCKTYPE_PCLK2;
  RCC_ClkInitStruct.SYSCLKSource = RCC_SYSCLKSOURCE_PLLCLK;
  RCC_ClkInitStruct.AHBCLKDivider = RCC_SYSCLK_DIV1;
  RCC_ClkInitStruct.APB1CLKDivider = RCC_HCLK_DIV1;
  RCC_ClkInitStruct.APB2CLKDivider = RCC_HCLK_DIV1;

  if (HAL_RCC_ClockConfig(&RCC_ClkInitStruct, FLASH_LATENCY_4) != HAL_OK) {
    Error_Handler();
  }
}

static void MX_I2C1_Init(void) {

  hi2c1.Instance = I2C1;
  hi2c1.Init.Timing = 0x00F12981;
  hi2c1.Init.OwnAddress1 = 0;
  hi2c1.Init.AddressingMode = I2C_ADDRESSINGMODE_7BIT;
  hi2c1.Init.DualAddressMode = I2C_DUALADDRESS_DISABLE;
  hi2c1.Init.OwnAddress2 = 0;
  hi2c1.Init.OwnAddress2Masks = I2C_OA2_NOMASK;
  hi2c1.Init.GeneralCallMode = I2C_GENERALCALL_DISABLE;
  hi2c1.Init.NoStretchMode = I2C_NOSTRETCH_DISABLE;
  if (HAL_I2C_Init(&hi2c1) != HAL_OK) {
    Error_Handler();
  }

  /** Configure Analogue filter
   */
  if (HAL_I2CEx_ConfigAnalogFilter(&hi2c1, I2C_ANALOGFILTER_ENABLE) != HAL_OK) {
    Error_Handler();
  }

  /** Configure Digital filter
   */
  if (HAL_I2CEx_ConfigDigitalFilter(&hi2c1, 0) != HAL_OK) {
    Error_Handler();
  }
}

static void MX_SAI1_Init(void) {

  hsai_BlockA1.Instance = SAI1_Block_A;
  hsai_BlockA1.Init.AudioMode = SAI_MODEMASTER_TX;
  hsai_BlockA1.Init.Synchro = SAI_ASYNCHRONOUS;
  hsai_BlockA1.Init.OutputDrive = SAI_OUTPUTDRIVE_DISABLE;
  hsai_BlockA1.Init.NoDivider = SAI_MASTERDIVIDER_ENABLE;
  hsai_BlockA1.Init.FIFOThreshold = SAI_FIFOTHRESHOLD_EMPTY;
  hsai_BlockA1.Init.AudioFrequency = SAI_AUDIO_FREQUENCY_44K;
  hsai_BlockA1.Init.SynchroExt = SAI_SYNCEXT_DISABLE;
  hsai_BlockA1.Init.MonoStereoMode = SAI_STEREOMODE;
  hsai_BlockA1.Init.CompandingMode = SAI_NOCOMPANDING;
  hsai_BlockA1.Init.TriState = SAI_OUTPUT_NOTRELEASED;
  if (HAL_SAI_InitProtocol(&hsai_BlockA1, SAI_I2S_STANDARD,
                           SAI_PROTOCOL_DATASIZE_16BIT, 2) != HAL_OK) {
    Error_Handler();
  }
}

static void MX_SPI1_Init(void) {

  /* SPI1 parameter configuration*/
  hspi1.Instance = SPI1;
  hspi1.Init.Mode = SPI_MODE_MASTER;
  hspi1.Init.Direction = SPI_DIRECTION_2LINES;
  hspi1.Init.DataSize = SPI_DATASIZE_8BIT;
  hspi1.Init.CLKPolarity = SPI_POLARITY_LOW;
  hspi1.Init.CLKPhase = SPI_PHASE_1EDGE;
  hspi1.Init.NSS = SPI_NSS_SOFT;
  hspi1.Init.BaudRatePrescaler = SPI_BAUDRATEPRESCALER_256;
  hspi1.Init.FirstBit = SPI_FIRSTBIT_MSB;
  hspi1.Init.TIMode = SPI_TIMODE_DISABLE;
  hspi1.Init.CRCCalculation = SPI_CRCCALCULATION_DISABLE;
  hspi1.Init.CRCPolynomial = 7;
  hspi1.Init.CRCLength = SPI_CRC_LENGTH_DATASIZE;
  hspi1.Init.NSSPMode = SPI_NSS_PULSE_DISABLE;
  if (HAL_SPI_Init(&hspi1) != HAL_OK) {
    Error_Handler();
  }
}

static void MX_TIM2_Init(void) {

  TIM_ClockConfigTypeDef sClockSourceConfig = {0};
  TIM_MasterConfigTypeDef sMasterConfig = {0};
  TIM_OC_InitTypeDef sConfigOC = {0};

  htim2.Instance = TIM2;
  htim2.Init.Prescaler = 0;
  htim2.Init.CounterMode = TIM_COUNTERMODE_UP;
  htim2.Init.Period = 89;
  htim2.Init.ClockDivision = TIM_CLOCKDIVISION_DIV1;
  htim2.Init.AutoReloadPreload = TIM_AUTORELOAD_PRELOAD_DISABLE;
  if (HAL_TIM_Base_Init(&htim2) != HAL_OK) {
    Error_Handler();
  }
  sClockSourceConfig.ClockSource = TIM_CLOCKSOURCE_INTERNAL;
  if (HAL_TIM_ConfigClockSource(&htim2, &sClockSourceConfig) != HAL_OK) {
    Error_Handler();
  }
  if (HAL_TIM_PWM_Init(&htim2) != HAL_OK) {
    Error_Handler();
  }
  sMasterConfig.MasterOutputTrigger = TIM_TRGO_RESET;
  sMasterConfig.MasterSlaveMode = TIM_MASTERSLAVEMODE_DISABLE;
  if (HAL_TIMEx_MasterConfigSynchronization(&htim2, &sMasterConfig) != HAL_OK) {
    Error_Handler();
  }
  sConfigOC.OCMode = TIM_OCMODE_PWM1;
  sConfigOC.Pulse = 0;
  sConfigOC.OCPolarity = TIM_OCPOLARITY_HIGH;
  sConfigOC.OCFastMode = TIM_OCFAST_DISABLE;
  if (HAL_TIM_PWM_ConfigChannel(&htim2, &sConfigOC, TIM_CHANNEL_2) != HAL_OK) {
    Error_Handler();
  }
  HAL_TIM_MspPostInit(&htim2);
}

static void MX_TIM6_Init(void) {

  TIM_MasterConfigTypeDef sMasterConfig = {0};

  htim6.Instance = TIM6;
  htim6.Init.Prescaler = 7999;
  htim6.Init.CounterMode = TIM_COUNTERMODE_UP;
  htim6.Init.Period = 5000;
  htim6.Init.AutoReloadPreload = TIM_AUTORELOAD_PRELOAD_DISABLE;
  if (HAL_TIM_Base_Init(&htim6) != HAL_OK) {
    Error_Handler();
  }
  sMasterConfig.MasterOutputTrigger = TIM_TRGO_RESET;
  sMasterConfig.MasterSlaveMode = TIM_MASTERSLAVEMODE_DISABLE;
  if (HAL_TIMEx_MasterConfigSynchronization(&htim6, &sMasterConfig) != HAL_OK) {
    Error_Handler();
  }
}

static void MX_TIM7_Init(void) {

  TIM_MasterConfigTypeDef sMasterConfig = {0};

  htim7.Instance = TIM7;
  htim7.Init.Prescaler = 799;
  htim7.Init.CounterMode = TIM_COUNTERMODE_UP;
  htim7.Init.Period = 65535;
  htim7.Init.AutoReloadPreload = TIM_AUTORELOAD_PRELOAD_DISABLE;
  if (HAL_TIM_Base_Init(&htim7) != HAL_OK) {
    Error_Handler();
  }
  sMasterConfig.MasterOutputTrigger = TIM_TRGO_RESET;
  sMasterConfig.MasterSlaveMode = TIM_MASTERSLAVEMODE_DISABLE;
  if (HAL_TIMEx_MasterConfigSynchronization(&htim7, &sMasterConfig) != HAL_OK) {
    Error_Handler();
  }
}

static void MX_USART2_UART_Init(void) {

  huart2.Instance = USART2;
  huart2.Init.BaudRate = 115200;
  huart2.Init.WordLength = UART_WORDLENGTH_8B;
  huart2.Init.StopBits = UART_STOPBITS_1;
  huart2.Init.Parity = UART_PARITY_NONE;
  huart2.Init.Mode = UART_MODE_TX_RX;
  huart2.Init.HwFlowCtl = UART_HWCONTROL_NONE;
  huart2.Init.OverSampling = UART_OVERSAMPLING_16;
  huart2.Init.OneBitSampling = UART_ONE_BIT_SAMPLE_DISABLE;
  huart2.AdvancedInit.AdvFeatureInit = UART_ADVFEATURE_NO_INIT;
  if (HAL_UART_Init(&huart2) != HAL_OK) {
    Error_Handler();
  }
}

static void MX_DMA_Init(void) {

  /* DMA controller clock enable */
  __HAL_RCC_DMA1_CLK_ENABLE();
  __HAL_RCC_DMA2_CLK_ENABLE();

  /* DMA interrupt init */
  /* DMA1_Channel6_IRQn interrupt configuration */
  HAL_NVIC_SetPriority(DMA1_Channel6_IRQn, 5, 0);
  HAL_NVIC_EnableIRQ(DMA1_Channel6_IRQn);
  /* DMA1_Channel7_IRQn interrupt configuration */
  HAL_NVIC_SetPriority(DMA1_Channel7_IRQn, 0, 0);
  HAL_NVIC_EnableIRQ(DMA1_Channel7_IRQn);
  /* DMA2_Channel1_IRQn interrupt configuration */
  HAL_NVIC_SetPriority(DMA2_Channel1_IRQn, 0, 0);
  HAL_NVIC_EnableIRQ(DMA2_Channel1_IRQn);
}

static void MX_GPIO_Init(void) {
  GPIO_InitTypeDef GPIO_InitStruct = {0};

  /* GPIO Ports Clock Enable */
  __HAL_RCC_GPIOC_CLK_ENABLE();
  __HAL_RCC_GPIOH_CLK_ENABLE();
  __HAL_RCC_GPIOA_CLK_ENABLE();
  __HAL_RCC_GPIOB_CLK_ENABLE();

  /*Configure GPIO pin Output Level */
  HAL_GPIO_WritePin(GPIOB, SPI1_CS_Pin | BEAT_LED_Pin, GPIO_PIN_SET);

  /*Configure GPIO pin Output Level */
  HAL_GPIO_WritePin(GPIOA,
                    GREEN_LED_Pin | RED_LED_Pin | BLUE_LED_Pin | YELLOW_LED_Pin,
                    GPIO_PIN_RESET);

  /*Configure GPIO pin : SD_CD_Pin */
  GPIO_InitStruct.Pin = SD_CD_Pin;
  GPIO_InitStruct.Mode = GPIO_MODE_INPUT;
  GPIO_InitStruct.Pull = GPIO_PULLUP;
  HAL_GPIO_Init(SD_CD_GPIO_Port, &GPIO_InitStruct);

  /*Configure GPIO pins : PB_U_Pin PB_D_Pin */
  GPIO_InitStruct.Pin = PB_U_Pin | PB_D_Pin;
  GPIO_InitStruct.Mode = GPIO_MODE_INPUT;
  GPIO_InitStruct.Pull = GPIO_PULLUP;
  HAL_GPIO_Init(GPIOA, &GPIO_InitStruct);

  /*Configure GPIO pins : RED_PB_Pin GREEN_PB_Pin BLUE_PB_Pin YELLOW_PB_Pin */
  GPIO_InitStruct.Pin = RED_PB_Pin | GREEN_PB_Pin | BLUE_PB_Pin | YELLOW_PB_Pin;
  GPIO_InitStruct.Mode = GPIO_MODE_IT_RISING_FALLING;
  GPIO_InitStruct.Pull = GPIO_PULLUP;
  HAL_GPIO_Init(GPIOB, &GPIO_InitStruct);

  /*Configure GPIO pin : PB_SEL_Pin */
  GPIO_InitStruct.Pin = PB_SEL_Pin;
  GPIO_InitStruct.Mode = GPIO_MODE_IT_FALLING;
  GPIO_InitStruct.Pull = GPIO_PULLUP;
  HAL_GPIO_Init(PB_SEL_GPIO_Port, &GPIO_InitStruct);

  /*Configure GPIO pins : SPI1_CS_Pin BEAT_LED_Pin */
  GPIO_InitStruct.Pin = SPI1_CS_Pin | BEAT_LED_Pin;
  GPIO_InitStruct.Mode = GPIO_MODE_OUTPUT_PP;
  GPIO_InitStruct.Pull = GPIO_NOPULL;
  GPIO_InitStruct.Speed = GPIO_SPEED_FREQ_LOW;
  HAL_GPIO_Init(GPIOB, &GPIO_InitStruct);

  /*Configure GPIO pins : GREEN_LED_Pin RED_LED_Pin BLUE_LED_Pin YELLOW_LED_Pin
   */
  GPIO_InitStruct.Pin =
      GREEN_LED_Pin | RED_LED_Pin | BLUE_LED_Pin | YELLOW_LED_Pin;
  GPIO_InitStruct.Mode = GPIO_MODE_OUTPUT_PP;
  GPIO_InitStruct.Pull = GPIO_NOPULL;
  GPIO_InitStruct.Speed = GPIO_SPEED_FREQ_LOW;
  HAL_GPIO_Init(GPIOA, &GPIO_InitStruct);

  /*Configure GPIO pins : PB_R_Pin PB_L_Pin */
  GPIO_InitStruct.Pin = PB_R_Pin | PB_L_Pin;
  GPIO_InitStruct.Mode = GPIO_MODE_INPUT;
  GPIO_InitStruct.Pull = GPIO_PULLUP;
  HAL_GPIO_Init(GPIOB, &GPIO_InitStruct);

  /* EXTI interrupt init*/
  HAL_NVIC_SetPriority(EXTI0_IRQn, 0, 0);
  HAL_NVIC_EnableIRQ(EXTI0_IRQn);

  HAL_NVIC_SetPriority(EXTI1_IRQn, 0, 0);
  HAL_NVIC_EnableIRQ(EXTI1_IRQn);

  HAL_NVIC_SetPriority(EXTI2_IRQn, 0, 0);
  HAL_NVIC_EnableIRQ(EXTI2_IRQn);

  HAL_NVIC_SetPriority(EXTI4_IRQn, 0, 0);
  HAL_NVIC_EnableIRQ(EXTI4_IRQn);

  HAL_NVIC_SetPriority(EXTI15_10_IRQn, 0, 0);
  HAL_NVIC_EnableIRQ(EXTI15_10_IRQn);

}

void Error_Handler(void) {
  __disable_irq();
  while (1) {
  }
}
#ifdef USE_FULL_ASSERT
/**
 * @brief  Reports the name of the source file and the source line number
 *         where the assert_param error has occurred.
 * @param  file: pointer to the source file name
 * @param  line: assert_param error line source number
 * @retval None
 */
void assert_failed(uint8_t *file, uint32_t line) {
  /* USER CODE BEGIN 6 */
  /* User can add his own implementation to report the file name and line
     number, ex: printf("Wrong parameters value: file %s on line %d\r\n", file,
     line) */
  /* USER CODE END 6 */
}
#endif /* USE_FULL_ASSERT */
